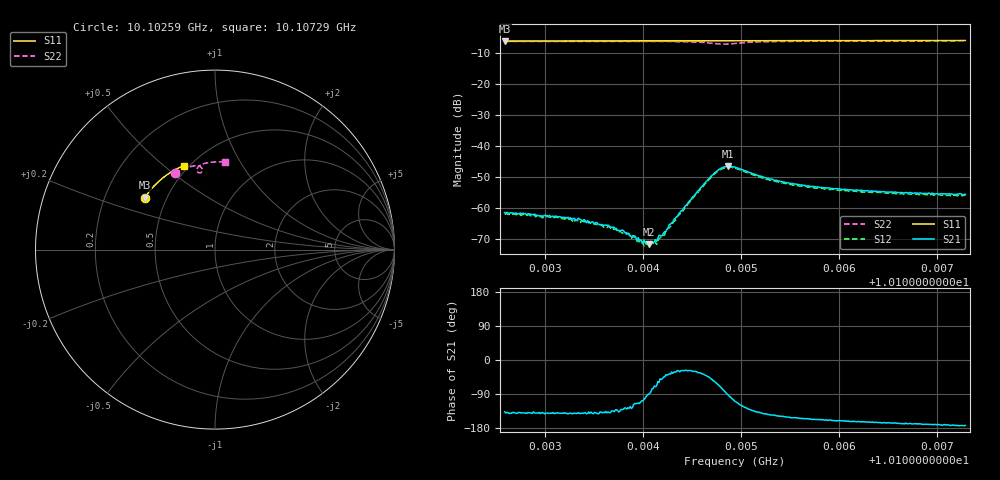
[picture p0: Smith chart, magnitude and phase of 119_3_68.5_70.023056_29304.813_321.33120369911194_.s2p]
#  HZ  S  RI  R  50.00
! Rohde & Schwarz Vector Network Analyzer
! Rohde-Schwarz,ZNB20-2Port,1311601062101988,3.16
! Created: UTC 3/20/2024, 4:53:54 PM
! freq[Hz]  re:S11  im:S11  re:S21  im:S21  re:S12  im:S12  re:S22  im:S22
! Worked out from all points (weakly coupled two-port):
!   401 points, 10.10259 GHz to 10.10729 GHz, reference 50 ohm
!   highest |S21| = -46.67 dB at 10.10487 GHz (marker M1); lowest = -71.7 dB at 10.10406 GHz (marker M2)
!   lowest |S11| = -6.2 dB at 10.10259 GHz (marker M3), VSWR 2.90, Z = 18.9 + j14.3 ohm
!   |S11| at or under -10 dB: nowhere
!   |S22| runs from -7.2 to -6.2 dB; largest |S21 - S12| = 0.00046
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1.0102591e10  -0.392 0.2893  -0.000606 -0.000572  -0.000535 -0.000575  -0.222 0.425
1.0103143e10  -0.3724 0.3164  -0.000548 -0.000457  -0.000504 -0.000474  -0.1894 0.4422
1.0103378e10  -0.3634 0.3278  -0.000479 -0.000395  -0.000442 -0.00041  -0.1749 0.4487
1.0103437e10  -0.3612 0.3305  -0.000481 -0.000383  -0.000436 -0.00042  -0.1711 0.4501
1.0103649e10  -0.3528 0.3403  -0.000382 -0.000354  -0.000322 -0.000378  -0.1575 0.4554
1.0103766e10  -0.3482 0.3457  -0.000303 -0.000304  -0.000243 -0.000333  -0.1497 0.4582
1.0103825e10  -0.3458 0.3482  -0.000232 -0.000314  -0.0002 -0.000343  -0.1456 0.4596
1.010399e10  -0.3389 0.3556  -8.79e-05 -0.000274  -6.3e-05 -0.000264  -0.1338 0.4629
1.010406e10  -0.336 0.3588  6.87e-07 -0.000259  6.05e-06 -0.00026  -0.1285 0.4641
1.0104119e10  -0.3333 0.3611  0.000104 -0.000263  0.000125 -0.000271  -0.124 0.4651
1.0104166e10  -0.3312 0.3631  0.000181 -0.000307  0.000205 -0.000243  -0.1202 0.4656
1.0104213e10  -0.3293 0.3653  0.000275 -0.000276  0.000275 -0.000234  -0.1162 0.4665
1.0104378e10  -0.3221 0.3721  0.000709 -0.000427  0.000718 -0.000328  -0.1014 0.467
1.0104695e10  -0.3076 0.385  0.00208 -0.00242  0.00218 -0.0021  -0.0706 0.4464
1.0104789e10  -0.3034 0.3886  0.00143 -0.00397  0.00172 -0.00369  -0.0754 0.4312
1.0104872e10  -0.2996 0.3917  -0.00019 -0.00464  0.000207 -0.00447  -0.09 0.4282
1.0104942e10  -0.2967 0.3944  -0.00146 -0.00427  -0.00101 -0.00418  -0.0989 0.4361
1.0105283e10  -0.2803 0.4073  -0.0024 -0.00173  -0.00215 -0.00185  -0.0827 0.4703
1.010553e10  -0.2683 0.4162  -0.00218 -0.00114  -0.00196 -0.00124  -0.0634 0.4787
1.010573e10  -0.2581 0.4231  -0.00203 -0.000858  -0.00185 -0.00102  -0.0485 0.4824
1.0106517e10  -0.2172 0.4475  -0.00173 -0.000441  -0.00163 -0.000562  0.00555 0.4886
1.0107293e10  -0.1748 0.4674  -0.00163 -0.000208  -0.00154 -0.000332  0.0566 0.4878
